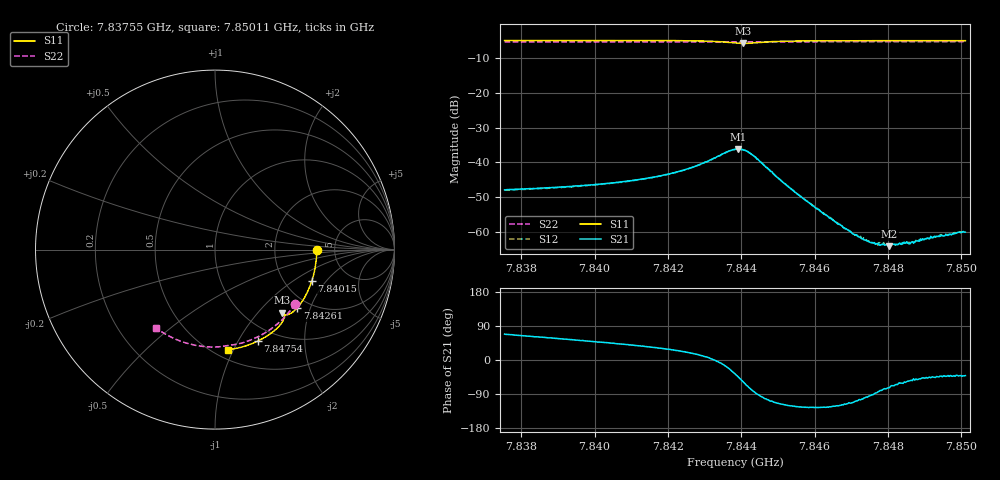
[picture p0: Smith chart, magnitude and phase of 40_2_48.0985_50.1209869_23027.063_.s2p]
#  HZ  S  RI  R  50.00
! Rohde & Schwarz Vector Network Analyzer
! Rohde-Schwarz,ZNB20-2Port,1311601062101988,3.16
! Created: UTC 12/23/2023, 3:38:38 AM
! freq[Hz]  re:S11  im:S11  re:S21  im:S21  re:S12  im:S12  re:S22  im:S22
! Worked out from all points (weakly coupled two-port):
!   401 points, 7.83755 GHz to 7.85011 GHz, reference 50 ohm
!   highest |S21| = -36.15 dB at 7.84393 GHz (marker M1); lowest = -64.2 dB at 7.84804 GHz (marker M2)
!   lowest |S11| = -5.8 dB at 7.84405 GHz (marker M3), VSWR 3.11, Z = 71.7 - j68.3 ohm
!   |S11| at or under -10 dB: nowhere
!   |S22| runs from -5.4 to -5.3 dB; largest |S21 - S12| = 0.00037
!   S11 on the Smith chart (normalised r, x): 7.83755 GHz: 3.61, -0.02; 7.84015 GHz: 2.81, -1.43; 7.84261 GHz: 1.72, -1.63; 7.84754 GHz: 0.81, -1.21; 7.85011 GHz: 0.58, -0.95
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7.837547e9  0.5665 -0.00142  0.00147 0.00371  0.0015 0.00364  0.4468 -0.303
7.839652e9  0.5495 -0.1407  0.00289 0.0036  0.00282 0.00357  0.349 -0.413
7.840155e9  0.5399 -0.1732  0.0033 0.00355  0.00326 0.00352  0.3214 -0.4349
7.841757e9  0.495 -0.2736  0.00538 0.0033  0.00533 0.00331  0.225 -0.4925
7.842605e9  0.4589 -0.324  0.0078 0.00265  0.00778 0.00266  0.1694 -0.5143
7.84336e9  0.411 -0.3605  0.0121 -0.000884  0.0121 -0.00079  0.118 -0.5276
7.843831e9  0.377 -0.3589  0.0123 -0.00907  0.0124 -0.00902  0.0863 -0.5321
7.843925e9  0.3744 -0.3549  0.011 -0.011  0.011 -0.0108  0.0805 -0.5329
7.844051e9  0.3749 -0.3507  0.00813 -0.0127  0.00819 -0.0128  0.0726 -0.5341
7.844334e9  0.384 -0.355  0.00157 -0.0124  0.00159 -0.0123  0.0545 -0.5373
7.845182e9  0.3692 -0.4119  -0.00234 -0.00433  -0.00233 -0.00438  -0.00468 -0.5428
7.845936e9  0.331 -0.4513  -0.00136 -0.00194  -0.0014 -0.002  -0.0579 -0.5407
7.846816e9  0.2812 -0.4869  -0.000495 -0.00102  -0.00049 -0.000988  -0.1192 -0.5312
7.847161e9  0.2607 -0.4987  -0.000271 -0.000828  -0.000277 -0.000853  -0.1428 -0.5255
7.847538e9  0.238 -0.51  -4.13e-05 -0.000692  -4.62e-05 -0.000728  -0.1683 -0.5181
7.847664e9  0.2301 -0.5138  3.25e-05 -0.000657  1.9e-05 -0.000674  -0.1765 -0.5154
7.848041e9  0.2069 -0.5237  0.000177 -0.000592  0.000177 -0.000629  -0.2015 -0.5064
7.848638e9  0.1691 -0.5371  0.000418 -0.000567  0.000448 -0.000538  -0.2398 -0.4899
7.849235e9  0.1308 -0.5476  0.000583 -0.000583  0.000586 -0.00057  -0.277 -0.4702
7.849486e9  0.1143 -0.5511  0.000624 -0.000611  0.000618 -0.000623  -0.2922 -0.4611
7.849926e9  0.0854 -0.5562  0.000726 -0.000658  0.000708 -0.00066  -0.3178 -0.4441
7.850115e9  0.073 -0.5579  0.000741 -0.000648  0.000735 -0.000646  -0.3285 -0.4366
